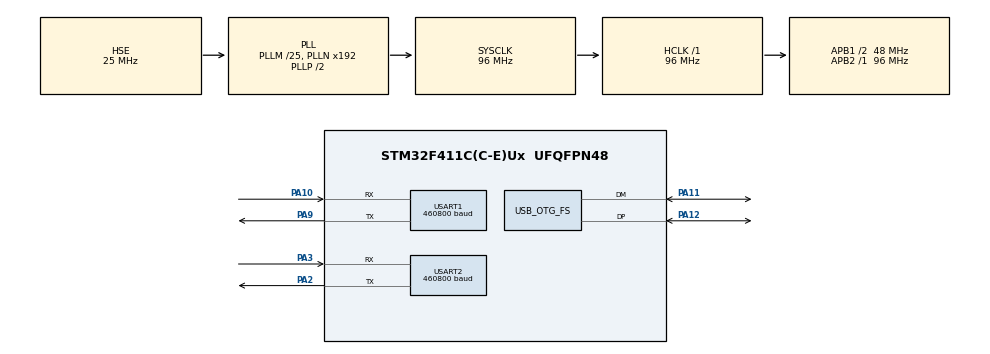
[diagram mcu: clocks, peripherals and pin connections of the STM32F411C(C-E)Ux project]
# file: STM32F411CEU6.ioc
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Dma.Request0=USART1_RX
Dma.Request1=USART1_TX
Dma.Request2=USART2_RX
Dma.Request3=USART2_TX
Dma.USART1_RX.0.Direction=DMA_PERIPH_TO_MEMORY
Dma.USART1_RX.0.FIFOMode=DMA_FIFOMODE_DISABLE
Dma.USART1_RX.0.Instance=DMA2_Stream2
Dma.USART1_RX.0.MemDataAlignment=DMA_MDATAALIGN_BYTE
Dma.USART1_RX.0.MemInc=DMA_MINC_ENABLE
Dma.USART1_RX.0.Mode=DMA_CIRCULAR
Dma.USART1_RX.0.PeriphDataAlignment=DMA_PDATAALIGN_BYTE
Dma.USART1_RX.0.PeriphInc=DMA_PINC_DISABLE
Dma.USART1_RX.0.Priority=DMA_PRIORITY_HIGH
Dma.USART1_TX.1.Direction=DMA_MEMORY_TO_PERIPH
Dma.USART1_TX.1.FIFOMode=DMA_FIFOMODE_DISABLE
Dma.USART1_TX.1.Instance=DMA2_Stream7
Dma.USART1_TX.1.MemDataAlignment=DMA_MDATAALIGN_BYTE
Dma.USART1_TX.1.MemInc=DMA_MINC_ENABLE
Dma.USART1_TX.1.Mode=DMA_NORMAL
Dma.USART1_TX.1.PeriphDataAlignment=DMA_PDATAALIGN_BYTE
Dma.USART1_TX.1.PeriphInc=DMA_PINC_DISABLE
Dma.USART1_TX.1.Priority=DMA_PRIORITY_HIGH
Dma.USART2_RX.2.Direction=DMA_PERIPH_TO_MEMORY
Dma.USART2_RX.2.FIFOMode=DMA_FIFOMODE_DISABLE
Dma.USART2_RX.2.Instance=DMA1_Stream5
Dma.USART2_RX.2.MemDataAlignment=DMA_MDATAALIGN_BYTE
Dma.USART2_RX.2.MemInc=DMA_MINC_ENABLE
Dma.USART2_RX.2.Mode=DMA_CIRCULAR
Dma.USART2_RX.2.PeriphDataAlignment=DMA_PDATAALIGN_BYTE
Dma.USART2_RX.2.PeriphInc=DMA_PINC_DISABLE
Dma.USART2_RX.2.Priority=DMA_PRIORITY_HIGH
Dma.USART2_TX.3.Direction=DMA_MEMORY_TO_PERIPH
Dma.USART2_TX.3.FIFOMode=DMA_FIFOMODE_DISABLE
Dma.USART2_TX.3.Instance=DMA1_Stream6
Dma.USART2_TX.3.MemDataAlignment=DMA_MDATAALIGN_BYTE
Dma.USART2_TX.3.MemInc=DMA_MINC_ENABLE
Dma.USART2_TX.3.Mode=DMA_NORMAL
Dma.USART2_TX.3.PeriphDataAlignment=DMA_PDATAALIGN_BYTE
Dma.USART2_TX.3.PeriphInc=DMA_PINC_DISABLE
Dma.USART2_TX.3.Priority=DMA_PRIORITY_HIGH
Mcu.Family=STM32F4
Mcu.Name=STM32F411C(C-E)Ux
Mcu.Package=UFQFPN48
NVIC.DMA1_Stream5_IRQn=true\:0\:0\:false\:false\:true\:false\:true\:true
NVIC.DMA1_Stream6_IRQn=true\:0\:0\:false\:false\:true\:false\:true\:true
NVIC.DMA2_Stream2_IRQn=true\:0\:0\:false\:false\:true\:false\:true\:true
NVIC.DMA2_Stream7_IRQn=true\:0\:0\:false\:false\:true\:false\:true\:true
NVIC.OTG_FS_IRQn=true\:0\:0\:false\:false\:true\:false\:true\:true
NVIC.PriorityGroup=NVIC_PRIORITYGROUP_4
NVIC.TIM1_BRK_TIM9_IRQn=true\:0\:0\:false\:false\:true\:true\:true\:true
NVIC.TIM1_UP_TIM10_IRQn=true\:0\:0\:false\:false\:true\:true\:true\:true
NVIC.TIM2_IRQn=true\:0\:0\:false\:false\:true\:true\:true\:true
NVIC.TIM3_IRQn=true\:0\:0\:false\:false\:true\:true\:true\:true
NVIC.TIM4_IRQn=true\:0\:0\:false\:false\:true\:true\:true\:true
NVIC.USART1_IRQn=true\:0\:0\:false\:false\:true\:true\:true\:true
NVIC.USART2_IRQn=true\:0\:0\:false\:false\:true\:true\:true\:true
PA10.Mode=Asynchronous
PA10.Signal=USART1_RX
PA11.Mode=Device_Only
PA11.Signal=USB_OTG_FS_DM
PA12.Mode=Device_Only
PA12.Signal=USB_OTG_FS_DP
PA13.Mode=Serial_Wire
PA13.Signal=SYS_JTMS-SWDIO
PA14.Mode=Serial_Wire
PA14.Signal=SYS_JTCK-SWCLK
PA2.Mode=Asynchronous
PA2.Signal=USART2_TX
PA3.Mode=Asynchronous
PA3.Signal=USART2_RX
PA9.GPIO_PuPd=GPIO_NOPULL
PA9.GPIO_Speed=GPIO_SPEED_FREQ_VERY_HIGH
PA9.Mode=Asynchronous
PA9.Signal=USART1_TX
PH0\ -\ OSC_IN.Mode=HSE-External-Oscillator
PH0\ -\ OSC_IN.Signal=RCC_OSC_IN
PH1\ -\ OSC_OUT.Mode=HSE-External-Oscillator
PH1\ -\ OSC_OUT.Signal=RCC_OSC_OUT
ProjectManager.HeapSize=0x200
ProjectManager.StackSize=0x400
ProjectManager.TargetToolchain=MDK-ARM V5.32
RCC.48MHZClocksFreq_Value=48000000
RCC.AHBFreq_Value=96000000
RCC.APB1CLKDivider=RCC_HCLK_DIV2
RCC.APB1Freq_Value=48000000
RCC.APB1TimFreq_Value=96000000
RCC.APB2Freq_Value=96000000
RCC.APB2TimFreq_Value=96000000
RCC.CortexFreq_Value=96000000
RCC.HCLKFreq_Value=96000000
RCC.HSE_VALUE=25000000
RCC.HSI_VALUE=16000000
RCC.LSE_VALUE=32768
RCC.PLLM=25
RCC.SYSCLKFreq_VALUE=96000000
RCC.SYSCLKSource=RCC_SYSCLKSOURCE_PLLCLK
RCC.VCOOutputFreq_Value=192000000
TIM1.AutoReloadPreload=TIM_AUTORELOAD_PRELOAD_ENABLE
TIM1.Period=49999
TIM1.Prescaler=95
TIM2.AutoReloadPreload=TIM_AUTORELOAD_PRELOAD_DISABLE
TIM2.Period=3999
TIM2.Prescaler=95
TIM3.AutoReloadPreload=TIM_AUTORELOAD_PRELOAD_ENABLE
TIM3.Period=49999
TIM3.Prescaler=95
TIM4.Period=2499
TIM4.Prescaler=95
USART1.BaudRate=460800
USART1.VirtualMode=VM_ASYNC
USART2.BaudRate=460800
USART2.VirtualMode=VM_ASYNC
USB_DEVICE.CLASS_NAME_FS=CDC
USB_DEVICE.VirtualMode=Cdc
USB_DEVICE.VirtualModeFS=Cdc_FS
USB_OTG_FS.VirtualMode=Device_Only
VP_TIM1_VS_ClockSourceINT.Mode=Internal
VP_TIM2_VS_ClockSourceINT.Mode=Internal
VP_TIM3_VS_ClockSourceINT.Mode=Internal
VP_TIM4_VS_ClockSourceINT.Mode=Internal
VP_USB_DEVICE_VS_USB_DEVICE_CDC_FS.Mode=CDC_FS
board=custom

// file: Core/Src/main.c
/* USER CODE BEGIN Header */
/**
  ******************************************************************************
  * @file           : main.c
  * @brief          : Main program body
  ******************************************************************************
  * @attention
  *
  * Copyright (c) 2026 STMicroelectronics.
  * All rights reserved.
  *
  * This software is licensed under terms that can be found in the LICENSE file
  * in the root directory of this software component.
  * If no LICENSE file comes with this software, it is provided AS-IS.
  *
  ******************************************************************************
  */
/* USER CODE END Header */
#include "main.h"
#include "dma.h"
#include "tim.h"
#include "usart.h"
#include "usb_device.h"
#include "gpio.h"

/* USER CODE BEGIN Includes */
#include "tactile_bridge.h"
#include "motor_bridge.h"
/* USER CODE END Includes */

void SystemClock_Config(void);

int main(void)
{

  /* MCU Configuration--------------------------------------------------------*/

  /* Reset of all peripherals, Initializes the Flash interface and the Systick. */
  HAL_Init();

  /* Configure the system clock */
  SystemClock_Config();

  /* Initialize all configured peripherals */
  MX_GPIO_Init();
  MX_DMA_Init();
  MX_USART1_UART_Init();
  MX_USART2_UART_Init();
  MX_USB_DEVICE_Init();
  MX_TIM1_Init();
  MX_TIM2_Init();
  MX_TIM3_Init();
  MX_TIM4_Init();
  /* USER CODE BEGIN 2 */
    if (MotorBridge_Init(&huart1) != HAL_OK)
      Error_Handler();

  if (TactileBridge_Init(&huart2) != HAL_OK)
      Error_Handler();

  /* Start the 50 ms tactile polling-round timer after bridge initialization. */
  /* USER CODE END 2 */

  /* Infinite loop */
  /* USER CODE BEGIN WHILE */
  while (1)
  {
      MotorBridge_Process();
      TactileBridge_Process();
    /* USER CODE END WHILE */

  }
}

void SystemClock_Config(void)
{
  RCC_OscInitTypeDef RCC_OscInitStruct = {0};
  RCC_ClkInitTypeDef RCC_ClkInitStruct = {0};

  /** Configure the main internal regulator output voltage
  */
  __HAL_RCC_PWR_CLK_ENABLE();
  __HAL_PWR_VOLTAGESCALING_CONFIG(PWR_REGULATOR_VOLTAGE_SCALE1);

  /** Initializes the RCC Oscillators according to the specified parameters
  * in the RCC_OscInitTypeDef structure.
  */
  RCC_OscInitStruct.OscillatorType = RCC_OSCILLATORTYPE_HSE;
  RCC_OscInitStruct.HSEState = RCC_HSE_ON;
  RCC_OscInitStruct.PLL.PLLState = RCC_PLL_ON;
  RCC_OscInitStruct.PLL.PLLSource = RCC_PLLSOURCE_HSE;
  RCC_OscInitStruct.PLL.PLLM = 25;
  RCC_OscInitStruct.PLL.PLLN = 192;
  RCC_OscInitStruct.PLL.PLLP = RCC_PLLP_DIV2;
  RCC_OscInitStruct.PLL.PLLQ = 4;
  if (HAL_RCC_OscConfig(&RCC_OscInitStruct) != HAL_OK)
  {
    Error_Handler();
  }

  /** Initializes the CPU, AHB and APB buses clocks
  */
  RCC_ClkInitStruct.ClockType = RCC_CLOCKTYPE_HCLK|RCC_CLOCKTYPE_SYSCLK
                              |RCC_CLOCKTYPE_PCLK1|RCC_CLOCKTYPE_PCLK2;
  RCC_ClkInitStruct.SYSCLKSource = RCC_SYSCLKSOURCE_PLLCLK;
  RCC_ClkInitStruct.AHBCLKDivider = RCC_SYSCLK_DIV1;
  RCC_ClkInitStruct.APB1CLKDivider = RCC_HCLK_DIV2;
  RCC_ClkInitStruct.APB2CLKDivider = RCC_HCLK_DIV1;

  if (HAL_RCC_ClockConfig(&RCC_ClkInitStruct, FLASH_LATENCY_3) != HAL_OK)
  {
    Error_Handler();
  }
}

/* USER CODE BEGIN 4 */
void HAL_UARTEx_RxEventCallback(UART_HandleTypeDef *huart, uint16_t size)
{
  MotorBridge_UART_RxEventCallback(huart, size);
  TactileBridge_UART_RxEventCallback(huart, size);
}

void HAL_UART_TxCpltCallback(UART_HandleTypeDef *huart)
{
  MotorBridge_UART_TxCpltCallback(huart);
}

void HAL_UART_ErrorCallback(UART_HandleTypeDef *huart)
{
  MotorBridge_UART_ErrorCallback(huart);
    TactileBridge_UART_ErrorCallback(huart);
}

void HAL_TIM_PeriodElapsedCallback(TIM_HandleTypeDef *htim)
{
  MotorBridge_TIM_PeriodElapsedCallback(htim);
  TactileBridge_TIM_PeriodElapsedCallback(htim);
}
/* USER CODE END 4 */

void Error_Handler(void)
{
  __disable_irq();
  while (1)
  {
  }
}
